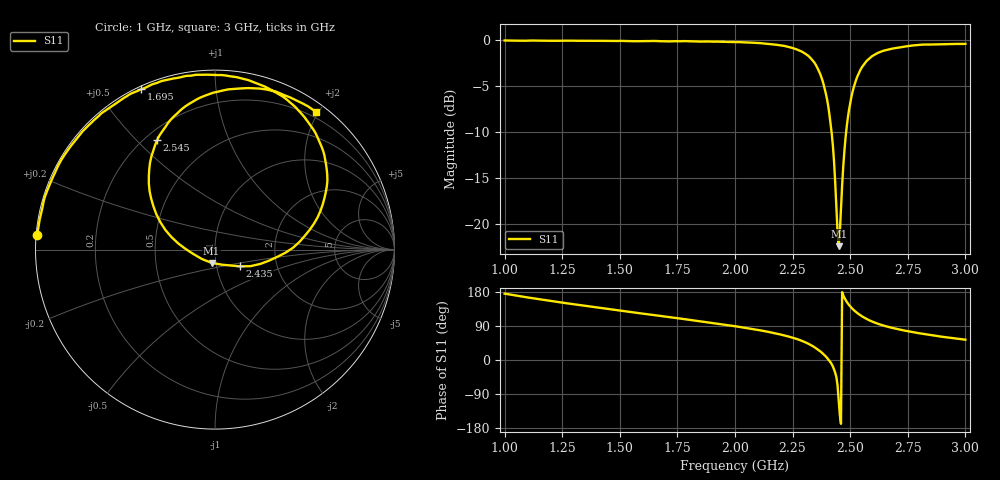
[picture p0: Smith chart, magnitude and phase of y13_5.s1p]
!  02.03.2026  10:40:37
! Ref Plane: 0,000 mm
# MHZ S MA R  50
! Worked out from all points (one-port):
!   401 points, 1 GHz to 3 GHz, reference 50 ohm
!   lowest |S11| = -22.4 dB at 2.45 GHz (marker M1), VSWR 1.17, Z = 47.6 - j7.07 ohm
!   |S11| at or under -10 dB: 2.419 GHz to 2.482 GHz (63.21 MHz wide, 2.58 % of centre)
!   S11 on the Smith chart (normalised r, x): 1 GHz: 0.00, +0.04; 1.695 GHz: 0.01, +0.64; 2.435 GHz: 1.30, -0.25; 2.545 GHz: 0.25, +0.58; 3 GHz: 0.12, +1.97
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1000  0.9932 175.2
1250  0.9911 151.3
1500  0.9885 130.3
1695  0.9835 114.8
1750  0.9847 110.3
2000  0.9726 89.2
2145  0.9516 74.1
2250  0.9037 58.9
2320  0.8161 42.4
2355  0.7162 29.5
2380  0.6009 17.6
2400  0.4734 5.3
2415  0.3507 -6.5
2425  0.266 -17.4
2435  0.1681 -33.8
2445  0.09161 -66.2
2450  0.07626 -104.6
2455  0.09032 -144.8
2460  0.1226 -168.3
2480  0.2966 158.5
2500  0.4537 141.5
2520  0.5784 129.3
2545  0.6904 117.8
2580  0.7869 105.6
2620  0.8504 95.6
2750  0.9255 76.0
2870  0.9456 63.7
3000  0.952 53.6
